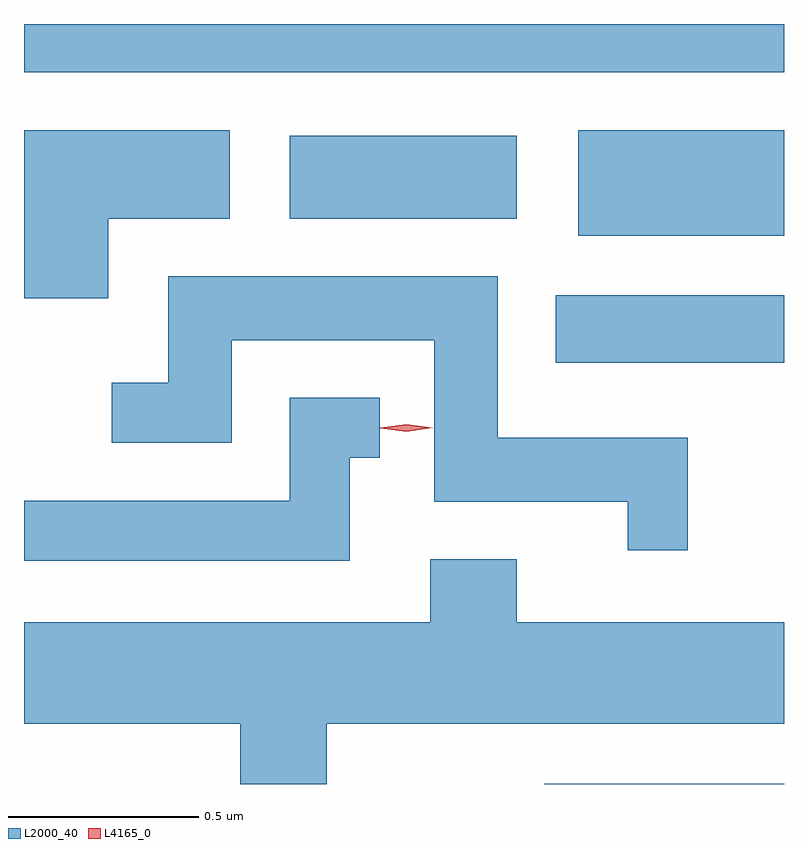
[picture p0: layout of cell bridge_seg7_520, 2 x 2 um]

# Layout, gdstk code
import gdstk
lib = gdstk.Library(unit=1e-6, precision=1e-09)
def R(c, l, rs):  # rectangles x0, y0, x1, y1
    for r in rs: c.add(gdstk.rectangle(r[:2], r[2:], *l))
def P(c, l, *ps):  # polygons
    for p in ps: c.add(gdstk.Polygon(p, *l))
L2000_40 = (2000, 40)
L4165_0 = (4165, 0)

bridge_seg7_520 = lib.new_cell('bridge_seg7_520')
R(bridge_seg7_520, L2000_40, [(1338.191,1718.598,1338.822,1718.599), (1338.221,1719.706,1338.822,1719.884), (1338.281,1720.041,1338.822,1720.319), (1337.521,1720.086,1338.119,1720.304), (1336.822,1720.471,1338.822,1720.598)])
P(bridge_seg7_520, L2000_40, [(1337.044,1720.086),(1337.364,1720.086),(1337.364,1720.319),(1336.822,1720.319),(1336.822,1719.876),(1337.044,1719.876)],
  [(1338.569,1719.509),(1338.069,1719.509),(1338.069,1719.934),(1337.201,1719.934),(1337.201,1719.654),(1337.053,1719.654),(1337.053,1719.496),(1337.369,1719.496),(1337.369,1719.766),(1337.901,1719.766),(1337.901,1719.341),(1338.411,1719.341),(1338.411,1719.213),(1338.569,1719.213)],
  [(1337.679,1719.456),(1337.758,1719.456),(1337.758,1719.614),(1337.521,1719.614),(1337.521,1719.344),(1336.822,1719.344),(1336.822,1719.186),(1337.679,1719.186)],
  [(1337.619,1718.756),(1338.822,1718.756),(1338.822,1719.024),(1338.119,1719.024),(1338.119,1719.189),(1337.891,1719.189),(1337.891,1719.024),(1336.822,1719.024),(1336.822,1718.756),(1337.391,1718.756),(1337.391,1718.598),(1337.619,1718.598)])
P(bridge_seg7_520, L4165_0, [(1337.828,1719.525),(1337.759,1719.534),(1337.759,1719.535),(1337.759,1719.535),(1337.828,1719.545),(1337.898,1719.536),(1337.898,1719.536),(1337.898,1719.535)])

lib.write_gds('bridge_seg7_520.gds')
